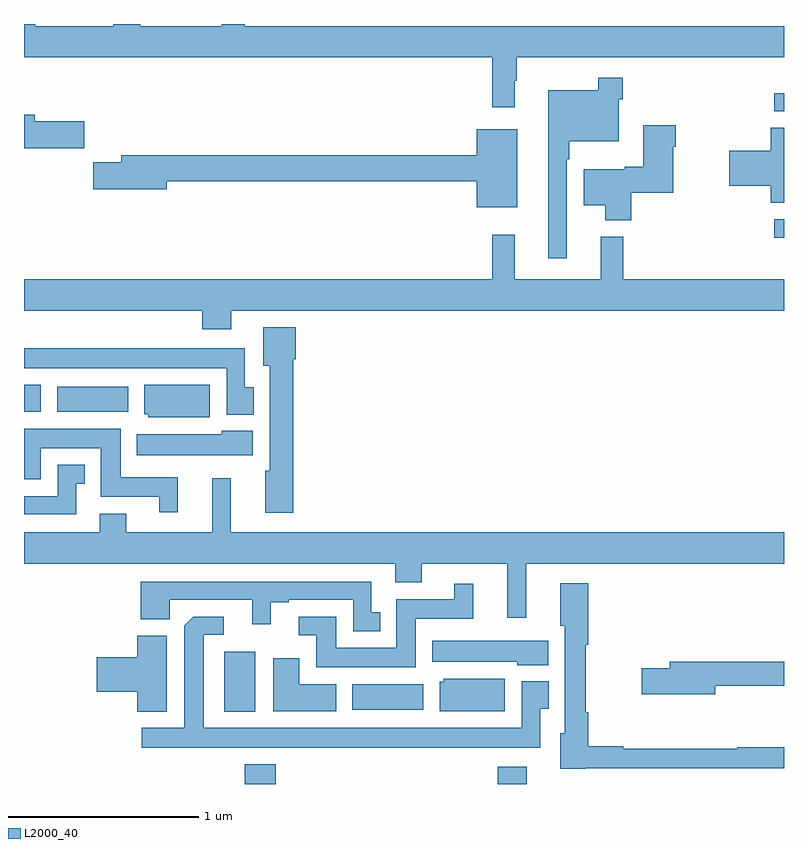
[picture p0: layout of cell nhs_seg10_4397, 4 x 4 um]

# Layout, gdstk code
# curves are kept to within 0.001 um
import gdstk
lib = gdstk.Library(unit=1e-6, precision=1e-09)
def R(c, l, rs):  # rectangles x0, y0, x1, y1
    for r in rs: c.add(gdstk.rectangle(r[:2], r[2:], *l))
def P(c, l, *ps):  # polygons
    for p in ps: c.add(gdstk.Polygon(p, *l))
L2000_40 = (2000, 40)

nhs_seg10_4397 = lib.new_cell('nhs_seg10_4397')
R(nhs_seg10_4397, L2000_40, [(360.161,1288.5,360.326,1288.603), (361.493,1288.5,361.645,1288.591), (360.053,1288.88,360.217,1289.197), (360.728,1288.892,361.102,1289.026), (359,1290.458,359.089,1290.601), (359.174,1290.458,359.548,1290.592), (362.949,1291.375,363,1291.473), (362.949,1292.04,363,1292.136)])
P(nhs_seg10_4397, L2000_40, [(359.471,1292.5),(359.471,1292.488),(359.059,1292.488),(359.059,1292.5),(359,1292.5),(359,1292.324),(361.465,1292.324),(361.465,1292.061),(361.582,1292.061),(361.582,1292.201),(361.594,1292.201),(361.594,1292.324),(363,1292.324),(363,1292.488),(360.163,1292.488),(360.163,1292.5),(360.041,1292.5),(360.041,1292.488),(359.611,1292.488),(359.611,1292.5)],
  [(361.857,1291.787),(361.87,1291.787),(361.87,1291.883),(362.13,1291.883),(362.13,1292.105),(362.15,1292.105),(362.15,1292.218),(362.022,1292.218),(362.022,1292.152),(361.76,1292.152),(361.76,1291.266),(361.857,1291.266)],
  [(359.317,1291.989),(359.056,1291.989),(359.056,1292.023),(359,1292.023),(359,1291.847),(359.317,1291.847)],
  [(362.195,1291.613),(362.416,1291.613),(362.416,1291.853),(362.429,1291.853),(362.429,1291.966),(362.258,1291.966),(362.258,1291.748),(362.162,1291.748),(362.162,1291.735),(361.946,1291.735),(361.946,1291.547),(362.06,1291.547),(362.06,1291.466),(362.195,1291.466)],
  [(363,1291.955),(362.93,1291.955),(362.93,1291.832),(362.712,1291.832),(362.712,1291.649),(362.93,1291.649),(362.93,1291.558),(363,1291.558)],
  [(361.597,1291.945),(361.382,1291.945),(361.382,1291.808),(359.513,1291.808),(359.513,1291.772),(359.364,1291.772),(359.364,1291.63),(359.752,1291.63),(359.752,1291.672),(361.382,1291.672),(361.382,1291.535),(361.597,1291.535)],
  [(360.091,1290.992),(363,1290.992),(363,1291.156),(362.153,1291.156),(362.153,1291.381),(362.036,1291.381),(362.036,1291.156),(361.583,1291.156),(361.583,1291.39),(361.465,1291.39),(361.465,1291.156),(359,1291.156),(359,1290.992),(359.939,1290.992),(359.939,1290.893),(360.091,1290.893)],
  [(360.416,1290.735),(360.431,1290.735),(360.431,1290.904),(360.26,1290.904),(360.26,1290.701),(360.293,1290.701),(360.293,1290.15),(360.269,1290.15),(360.269,1289.928),(360.416,1289.928)],
  [(360.208,1290.588),(360.163,1290.588),(360.163,1290.793),(359,1290.793),(359,1290.689),(360.066,1290.689),(360.066,1290.444),(360.208,1290.444)],
  [(359.977,1290.601),(359.633,1290.601),(359.633,1290.447),(359.655,1290.447),(359.655,1290.431),(359.977,1290.431)],
  [(359.81,1290.115),(359.509,1290.115),(359.509,1290.37),(359,1290.37),(359,1290.105),(359.089,1290.105),(359.089,1290.266),(359.405,1290.266),(359.405,1290.011),(359.711,1290.011),(359.711,1289.931),(359.81,1289.931)],
  [(360.205,1290.358),(360.042,1290.358),(360.042,1290.34),(359.594,1290.34),(359.594,1290.23),(360.205,1290.23)],
  [(359.274,1290.081),(359.32,1290.081),(359.32,1290.181),(359.178,1290.181),(359.178,1290.015),(359,1290.015),(359,1289.919),(359.274,1289.919)],
  [(361.643,1289.66),(363,1289.66),(363,1289.824),(360.089,1289.824),(360.089,1290.109),(359.99,1290.109),(359.99,1289.824),(359.539,1289.824),(359.539,1289.923),(359.399,1289.923),(359.399,1289.824),(359,1289.824),(359,1289.66),(360.953,1289.66),(360.953,1289.561),(361.093,1289.561),(361.093,1289.66),(361.544,1289.66),(361.544,1289.376),(361.643,1289.376)],
  [(360.874,1289.403),(360.828,1289.403),(360.828,1289.565),(359.615,1289.565),(359.615,1289.366),(359.766,1289.366),(359.766,1289.469),(360.2,1289.469),(360.2,1289.34),(360.298,1289.34),(360.298,1289.457),(360.394,1289.457),(360.394,1289.469),(360.732,1289.469),(360.732,1289.303),(360.874,1289.303)],
  [(361.953,1288.584),(363,1288.584),(363,1288.693),(362.753,1288.693),(362.753,1288.685),(362.153,1288.685),(362.153,1288.7),(361.97,1288.7),(361.97,1288.877),(361.957,1288.877),(361.957,1289.234),(361.97,1289.234),(361.97,1289.557),(361.823,1289.557),(361.823,1289.334),(361.847,1289.334),(361.847,1288.767),(361.823,1288.767),(361.823,1288.58),(361.953,1288.58)],
  [(361.063,1289.369),(361.364,1289.369),(361.364,1289.554),(361.265,1289.554),(361.265,1289.473),(360.959,1289.473),(360.959,1289.218),(360.643,1289.218),(360.643,1289.379),(360.447,1289.379),(360.447,1289.283),(360.539,1289.283),(360.539,1289.114),(361.063,1289.114)],
  [(361.717,1288.897),(361.762,1288.897),(361.762,1289.041),(361.62,1289.041),(361.62,1288.795),(359.947,1288.795),(359.947,1289.286),(360.052,1289.286),(360.052,1289.379),(359.89,1289.379),(359.844,1289.333),(359.843,1288.795),(359.619,1288.795),(359.619,1288.691),(361.717,1288.691)],
  [(359.752,1289.281),(359.597,1289.281),(359.597,1289.168),(359.382,1289.168),(359.382,1288.985),(359.597,1288.985),(359.597,1288.88),(359.752,1288.88)],
  [(361.759,1289.254),(361.148,1289.254),(361.148,1289.144),(361.596,1289.144),(361.596,1289.126),(361.759,1289.126)],
  [(360.643,1289.026),(360.448,1289.026),(360.448,1289.161),(360.311,1289.161),(360.311,1288.883),(360.643,1288.883)],
  [(362.638,1289.016),(363,1289.016),(363,1289.144),(362.399,1289.144),(362.399,1289.108),(362.25,1289.108),(362.25,1288.973),(362.638,1288.973)],
  [(361.531,1289.053),(361.209,1289.053),(361.209,1289.037),(361.187,1289.037),(361.187,1288.883),(361.531,1288.883)])

lib.write_gds('nhs_seg10_4397.gds')
